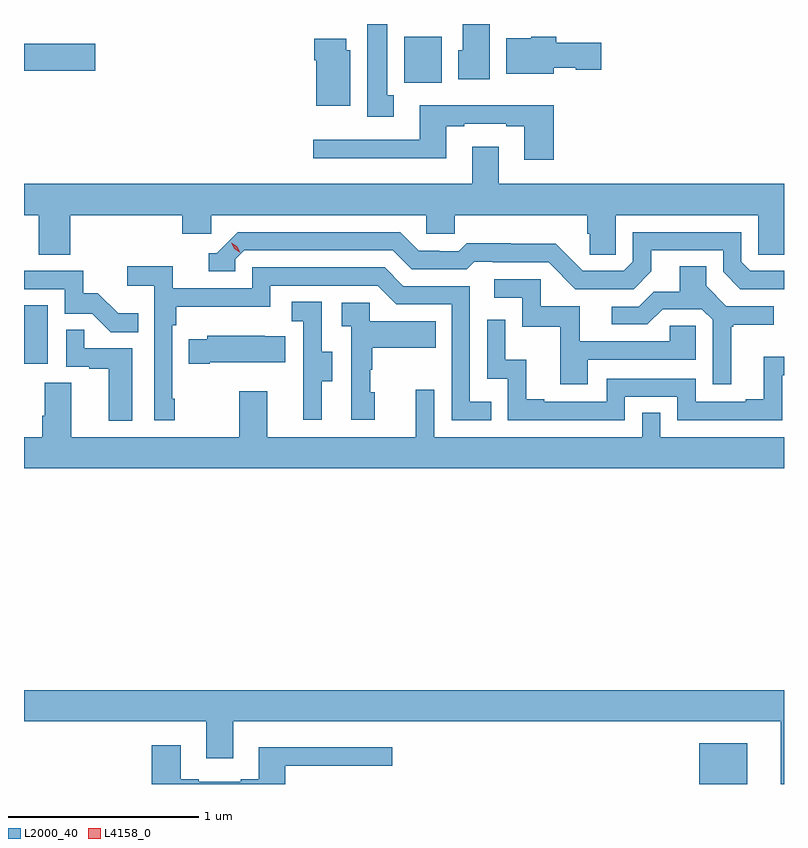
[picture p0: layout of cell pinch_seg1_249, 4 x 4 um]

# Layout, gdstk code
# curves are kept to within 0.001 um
import gdstk
lib = gdstk.Library(unit=1e-6, precision=1e-09)
def R(c, l, rs):  # rectangles x0, y0, x1, y1
    for r in rs: c.add(gdstk.rectangle(r[:2], r[2:], *l))
def P(c, l, *ps):  # polygons
    for p in ps: c.add(gdstk.Polygon(p, *l))
L2000_40 = (2000, 40)
L4158_0 = (4158, 0)

pinch_seg1_249 = lib.new_cell('pinch_seg1_249')
R(pinch_seg1_249, L2000_40, [(938.144,570.05,938.395,570.265), (934.589,572.262,934.714,572.569), (936.59,573.74,936.787,573.982), (934.589,573.803,934.963,573.945)])
P(pinch_seg1_249, L2000_40, [(936.535,573.674),(936.502,573.674),(936.502,574.05),(936.395,574.05),(936.395,573.561),(936.535,573.561)],
  [(937.039,574.05),(936.899,574.05),(936.899,573.912),(936.875,573.912),(936.875,573.758),(937.039,573.758)],
  [(937.378,573.821),(937.494,573.821),(937.494,573.809),(937.627,573.809),(937.627,573.951),(937.391,573.951),(937.391,573.982),(937.26,573.982),(937.26,573.976),(937.127,573.976),(937.127,573.788),(937.378,573.788)],
  [(936.307,573.912),(936.286,573.912),(936.286,573.973),(936.116,573.973),(936.116,573.86),(936.128,573.86),(936.128,573.62),(936.307,573.62)],
  [(937.376,573.622),(936.671,573.622),(936.671,573.441),(936.111,573.441),(936.111,573.344),(936.811,573.344),(936.811,573.513),(936.907,573.513),(936.907,573.525),(937.127,573.525),(937.127,573.513),(937.223,573.513),(937.223,573.336),(937.376,573.336)],
  [(934.832,573.044),(935.423,573.044),(935.423,572.946),(935.574,572.946),(935.574,573.044),(936.705,573.044),(936.705,572.946),(936.855,572.946),(936.855,573.044),(937.553,573.044),(937.553,572.946),(937.567,572.946),(937.567,572.836),(937.704,572.836),(937.704,573.044),(938.454,573.044),(938.454,572.836),(938.589,572.836),(938.589,573.208),(937.087,573.208),(937.087,573.403),(936.947,573.403),(936.947,573.208),(934.589,573.208),(934.589,573.044),(934.667,573.044),(934.667,572.836),(934.832,572.836)],
  [(938.589,572.751),(938.412,572.751),(938.364,572.799),(938.364,572.955),(937.794,572.955),(937.794,572.799),(937.746,572.751),(937.53,572.751),(937.388,572.893),(937.152,572.893),(937.152,572.896),(936.919,572.896),(936.877,572.853),(936.774,572.853),(936.774,572.856),(936.667,572.856),(936.568,572.955),(935.715,572.955),(935.604,572.844),(935.561,572.844),(935.561,572.748),(935.7,572.748),(935.7,572.811),(935.748,572.859),(936.531,572.859),(936.63,572.76),(936.919,572.76),(936.958,572.799),(937.057,572.799),(937.057,572.796),(937.35,572.796),(937.491,572.655),(937.797,572.655),(937.891,572.749),(937.891,572.859),(938.268,572.859),(938.268,572.745),(938.358,572.655),(938.589,572.654)],
  [(938.311,572.457),(938.323,572.457),(938.323,572.468),(938.536,572.468),(938.536,572.565),(938.286,572.565),(938.179,572.672),(938.179,572.774),(938.039,572.774),(938.039,572.642),(937.904,572.642),(937.824,572.562),(937.683,572.562),(937.683,572.469),(937.87,572.469),(937.951,572.55),(938.157,572.55),(938.214,572.493),(938.214,572.154),(938.311,572.154)],
  [(935.383,572.077),(935.37,572.077),(935.37,572.465),(935.39,572.465),(935.39,572.561),(935.886,572.561),(935.886,572.673),(936.45,572.673),(936.549,572.574),(936.84,572.574),(936.84,571.965),(937.049,571.965),(937.049,572.061),(936.936,572.061),(936.936,572.67),(936.586,572.67),(936.487,572.769),(935.79,572.769),(935.79,572.658),(935.372,572.658),(935.372,572.774),(935.133,572.774),(935.133,572.672),(935.274,572.672),(935.274,571.965),(935.383,571.965)],
  [(935.189,572.527),(935.085,572.527),(934.978,572.634),(934.902,572.634),(934.902,572.751),(934.589,572.751),(934.589,572.655),(934.803,572.655),(934.803,572.526),(934.948,572.526),(935.046,572.428),(935.189,572.428)],
  [(937.555,572.283),(938.124,572.283),(938.124,572.463),(937.987,572.463),(937.987,572.379),(937.513,572.379),(937.513,572.565),(937.308,572.565),(937.308,572.706),(937.065,572.706),(937.065,572.61),(937.212,572.61),(937.212,572.457),(937.411,572.457),(937.411,572.154),(937.555,572.154)],
  [(936.157,572.17),(936.211,572.17),(936.211,572.325),(936.156,572.325),(936.156,572.588),(935.997,572.588),(935.997,572.485),(936.06,572.485),(936.06,572.181),(936.059,572.181),(936.059,571.968),(936.157,571.968)],
  [(936.436,572.112),(936.411,572.112),(936.411,572.231),(936.421,572.231),(936.421,572.345),(936.755,572.345),(936.755,572.485),(936.408,572.485),(936.408,572.583),(936.261,572.583),(936.261,572.459),(936.312,572.459),(936.312,571.968),(936.436,571.968)],
  [(937.752,572.088),(938.028,572.088),(938.028,571.965),(938.58,571.965),(938.58,572.201),(938.589,572.201),(938.589,572.299),(938.483,572.299),(938.483,572.074),(938.387,572.074),(938.387,572.061),(938.124,572.061),(938.124,572.184),(937.656,572.184),(937.656,572.061),(937.327,572.061),(937.327,572.074),(937.232,572.074),(937.232,572.282),(937.122,572.282),(937.122,572.494),(937.026,572.494),(937.026,572.184),(937.134,572.184),(937.134,571.965),(937.752,571.965)],
  [(935.158,572.343),(934.907,572.343),(934.907,572.441),(934.812,572.441),(934.812,572.247),(934.933,572.247),(934.933,572.235),(935.036,572.235),(935.036,571.961),(935.158,571.961)],
  [(935.566,572.27),(935.963,572.27),(935.963,572.407),(935.855,572.407),(935.855,572.41),(935.553,572.41),(935.553,572.392),(935.455,572.392),(935.455,572.263),(935.566,572.263)],
  [(938.589,571.876),(937.938,571.876),(937.938,572.003),(937.842,572.003),(937.842,571.876),(936.747,571.876),(936.747,572.125),(936.65,572.125),(936.65,571.876),(935.869,571.876),(935.869,572.116),(935.722,572.116),(935.722,571.876),(934.837,571.876),(934.837,572.162),(934.697,572.162),(934.697,571.988),(934.685,571.988),(934.685,571.876),(934.589,571.876),(934.589,571.712),(938.589,571.712)],
  [(938.589,570.544),(934.589,570.544),(934.589,570.38),(935.549,570.38),(935.549,570.186),(935.689,570.186),(935.689,570.38),(938.573,570.38),(938.573,570.05),(938.589,570.05)],
  [(935.965,570.147),(936.526,570.147),(936.526,570.244),(935.825,570.244),(935.825,570.076),(935.729,570.076),(935.729,570.063),(935.509,570.063),(935.509,570.076),(935.413,570.076),(935.413,570.253),(935.261,570.253),(935.261,570.05),(935.965,570.05)])
P(pinch_seg1_249, L4158_0, [(935.726,572.847),(935.695,572.866),(935.679,572.899),(935.679,572.899),(935.679,572.899),(935.71,572.88),(935.726,572.847),(935.726,572.847)])

lib.write_gds('pinch_seg1_249.gds')
